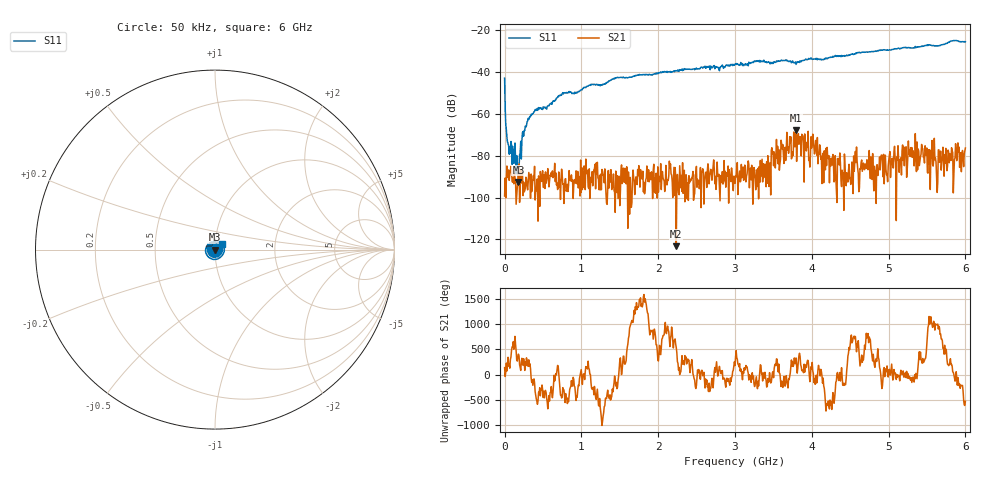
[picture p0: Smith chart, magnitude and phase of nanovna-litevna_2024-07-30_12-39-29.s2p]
! NanoVNA-App by OneOfEleven et al v1.1.209 (+OD15)
! Date: 2024-07-30 12:39:33
! Start: 50kHz Stop: 6GHz Points: 801
! S-Parameter data: F S11 S21 S12 S22
# Hz S RI R 50
!  Frequency  S11_Real  S11_Imag  S21_Real  S21_Imag  S12_Real  S12_Imag  S22_Real  S22_Imag
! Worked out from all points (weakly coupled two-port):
!   801 points, 50 kHz to 6 GHz, reference 50 ohm
!   highest |S21| = -67.73 dB at 3.795 GHz (marker M1); lowest = -123.2 dB at 2.235 GHz (marker M2)
!   lowest |S11| = -92.5 dB at 180 MHz (marker M3), VSWR 1.00, Z = 50 - j0.0022 ohm
!   |S11| at or under -10 dB: start of sweep to end of sweep
!   S12 and S22 are empty: the file has one direction only
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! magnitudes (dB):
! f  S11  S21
! 50 kHz  -43.1  -99.3
! 45.05 MHz  -74.3  -90.5
! 90.05 MHz  -74.9  -87.5
! 180 MHz  -92.5  -86.4
! 262.5 MHz  -68.0  -96.7
! 375 MHz  -59.7  -89.5
! 757.5 MHz  -50.0  -93.7
! 1.005 GHz  -48.8  -85.8
! 1.455 GHz  -42.9  -91.9
! 2.003 GHz  -40.9  -97.5
! 2.235 GHz  -39.5  -123.2
! 3 GHz  -36.4  -93.3
! 3.435 GHz  -35.2  -83.1
! 3.698 GHz  -35.1  -78.9
! 3.728 GHz  -35.2  -71.1
! 3.795 GHz  -36.5  -67.7
! 3.855 GHz  -35.2  -71.1
! 3.953 GHz  -34.0  -68.4
! 4.005 GHz  -34.0  -74.4
! 4.238 GHz  -33.1  -81.5
! 5.003 GHz  -29.7  -82.2
! 6 GHz  -25.7  -76.4
